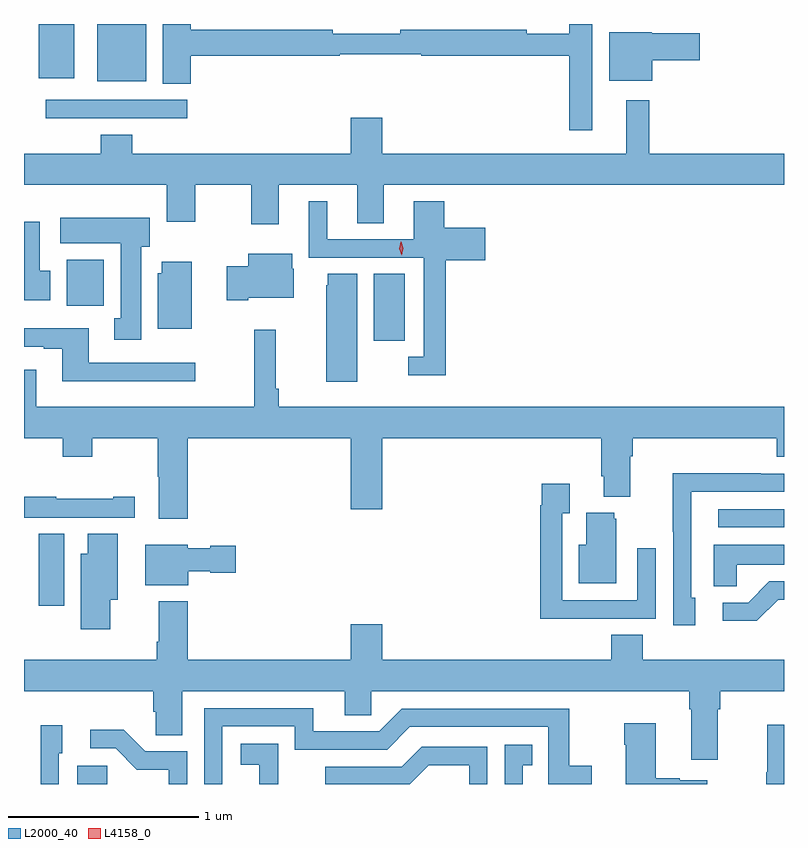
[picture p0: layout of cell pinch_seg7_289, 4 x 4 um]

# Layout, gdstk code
import gdstk
lib = gdstk.Library(unit=1e-6, precision=1e-09)
def R(c, l, rs):  # rectangles x0, y0, x1, y1
    for r in rs: c.add(gdstk.rectangle(r[:2], r[2:], *l))
def P(c, l, *ps):  # polygons
    for p in ps: c.add(gdstk.Polygon(p, *l))
L2000_40 = (2000, 40)
L4158_0 = (4158, 0)

pinch_seg7_289 = lib.new_cell('pinch_seg7_289')
R(pinch_seg7_289, L2000_40, [(511.22,1058.735,511.377,1058.83), (511.016,1059.672,511.15,1060.052), (514.593,1060.086,514.939,1060.182), (512.78,1061.067,512.944,1061.42), (511.163,1061.252,511.36,1061.494), (511.053,1062.24,511.798,1062.336), (511.325,1062.434,511.582,1062.735), (511.016,1062.449,511.204,1062.735)])
P(pinch_seg7_289, L2000_40, [(513.931,1062.735),(513.81,1062.735),(513.81,1062.685),(513.584,1062.685),(513.584,1062.704),(512.92,1062.704),(512.92,1062.685),(512.564,1062.685),(512.564,1062.704),(511.817,1062.704),(511.817,1062.735),(511.67,1062.735),(511.67,1062.421),(511.817,1062.421),(511.817,1062.568),(512.6,1062.568),(512.6,1062.576),(513.031,1062.576),(513.031,1062.568),(513.81,1062.568),(513.81,1062.177),(513.931,1062.177)],
  [(514.246,1062.544),(514.495,1062.544),(514.495,1062.686),(514.242,1062.686),(514.242,1062.691),(514.019,1062.691),(514.019,1062.437),(514.246,1062.437)],
  [(512.281,1061.888),(512.693,1061.888),(512.693,1061.686),(512.833,1061.686),(512.833,1061.888),(514.939,1061.888),(514.939,1062.052),(514.231,1062.052),(514.231,1062.334),(514.109,1062.334),(514.109,1062.052),(512.824,1062.052),(512.824,1062.241),(512.66,1062.241),(512.66,1062.052),(511.508,1062.052),(511.508,1062.151),(511.343,1062.151),(511.343,1062.052),(510.939,1062.052),(510.939,1061.888),(511.691,1061.888),(511.691,1061.694),(511.839,1061.694),(511.839,1061.888),(512.134,1061.888),(512.134,1061.682),(512.281,1061.682)],
  [(513.158,1061.492),(513.367,1061.492),(513.367,1061.662),(513.152,1061.662),(513.152,1061.803),(512.99,1061.803),(512.99,1061.601),(512.536,1061.601),(512.536,1061.803),(512.438,1061.803),(512.438,1061.505),(513.042,1061.505),(513.042,1060.983),(512.961,1060.983),(512.961,1060.886),(513.158,1060.886)],
  [(511.555,1061.562),(511.6,1061.562),(511.6,1061.716),(511.131,1061.716),(511.131,1061.582),(511.448,1061.582),(511.448,1061.186),(511.415,1061.186),(511.415,1061.073),(511.555,1061.073)],
  [(511.078,1061.436),(511.021,1061.436),(511.021,1061.695),(510.939,1061.695),(510.939,1061.28),(511.078,1061.28)],
  [(512.119,1061.294),(512.359,1061.294),(512.359,1061.448),(512.35,1061.448),(512.35,1061.527),(512.12,1061.527),(512.12,1061.46),(512.007,1061.46),(512.007,1061.282),(512.119,1061.282)],
  [(511.822,1061.485),(511.664,1061.485),(511.664,1061.424),(511.643,1061.424),(511.643,1061.132),(511.822,1061.132)],
  [(512.692,1061.42),(512.537,1061.42),(512.537,1061.361),(512.531,1061.361),(512.531,1060.851),(512.692,1060.851)],
  [(511.84,1060.953),(511.279,1060.953),(511.279,1061.134),(510.939,1061.134),(510.939,1061.037),(511.043,1061.037),(511.043,1061.025),(511.139,1061.025),(511.139,1060.856),(511.84,1060.856)],
  [(511.802,1060.556),(512.66,1060.556),(512.66,1060.182),(512.824,1060.182),(512.824,1060.556),(513.977,1060.556),(513.977,1060.354),(513.989,1060.354),(513.989,1060.247),(514.129,1060.247),(514.129,1060.46),(514.142,1060.46),(514.142,1060.556),(514.901,1060.556),(514.901,1060.457),(514.939,1060.457),(514.939,1060.72),(512.279,1060.72),(512.279,1060.816),(512.264,1060.816),(512.264,1061.125),(512.151,1061.125),(512.151,1060.72),(511.003,1060.72),(511.003,1060.915),(510.939,1060.915),(510.939,1060.556),(511.144,1060.556),(511.144,1060.457),(511.299,1060.457),(511.299,1060.556),(511.642,1060.556),(511.642,1060.352),(511.649,1060.352),(511.649,1060.131),(511.802,1060.131)],
  [(514.471,1059.714),(514.452,1059.714),(514.452,1060.272),(514.939,1060.272),(514.939,1060.368),(514.817,1060.368),(514.817,1060.37),(514.354,1060.37),(514.354,1060.063),(514.356,1060.063),(514.356,1059.57),(514.471,1059.57)],
  [(513.947,1059.606),(514.263,1059.606),(514.263,1059.976),(514.167,1059.976),(514.167,1059.702),(513.771,1059.702),(513.771,1060.159),(513.811,1060.159),(513.811,1060.315),(513.663,1060.315),(513.663,1060.202),(513.655,1060.202),(513.655,1059.605),(513.947,1059.605)],
  [(511.522,1060.246),(511.409,1060.246),(511.409,1060.236),(511.109,1060.236),(511.109,1060.246),(510.939,1060.246),(510.939,1060.137),(511.522,1060.137)],
  [(514.057,1060.131),(514.046,1060.131),(514.046,1060.162),(513.899,1060.162),(513.899,1059.994),(513.86,1059.994),(513.86,1059.791),(514.057,1059.791)],
  [(511.393,1059.704),(511.432,1059.704),(511.432,1060.052),(511.274,1060.052),(511.274,1059.946),(511.238,1059.946),(511.238,1059.549),(511.393,1059.549)],
  [(514.689,1059.89),(514.939,1059.89),(514.939,1059.994),(514.568,1059.994),(514.568,1059.775),(514.689,1059.775)],
  [(511.804,1059.854),(511.92,1059.854),(511.92,1059.847),(512.053,1059.847),(512.053,1059.989),(511.92,1059.989),(511.92,1059.976),(511.8,1059.976),(511.8,1059.994),(511.577,1059.994),(511.577,1059.782),(511.804,1059.782)],
  [(514.908,1059.705),(514.939,1059.705),(514.939,1059.801),(514.862,1059.801),(514.751,1059.69),(514.617,1059.69),(514.617,1059.593),(514.795,1059.593)],
  [(514.591,1059.128),(514.604,1059.128),(514.604,1059.224),(514.939,1059.224),(514.939,1059.388),(514.196,1059.388),(514.196,1059.521),(514.031,1059.521),(514.031,1059.388),(512.824,1059.388),(512.824,1059.577),(512.66,1059.577),(512.66,1059.388),(511.802,1059.388),(511.802,1059.697),(511.649,1059.697),(511.649,1059.484),(511.637,1059.484),(511.637,1059.388),(510.939,1059.388),(510.939,1059.224),(511.619,1059.224),(511.619,1059.115),(511.632,1059.115),(511.632,1058.992),(511.771,1058.992),(511.771,1059.224),(512.627,1059.224),(512.627,1059.097),(512.766,1059.097),(512.766,1059.224),(514.439,1059.224),(514.439,1059.128),(514.451,1059.128),(514.451,1058.862),(514.591,1058.862)],
  [(511.983,1059.039),(512.364,1059.039),(512.364,1058.916),(512.85,1058.916),(512.97,1059.036),(513.699,1059.036),(513.699,1058.735),(513.926,1058.735),(513.926,1058.83),(513.808,1058.83),(513.808,1059.132),(512.928,1059.132),(512.808,1059.012),(512.461,1059.012),(512.461,1059.135),(511.887,1059.135),(511.887,1058.735),(511.983,1058.735)],
  [(514.534,1058.755),(514.391,1058.755),(514.391,1058.765),(514.264,1058.765),(514.264,1059.055),(514.099,1059.055),(514.099,1058.942),(514.106,1058.942),(514.106,1058.735),(514.534,1058.735)],
  [(514.939,1059.046),(514.852,1059.046),(514.852,1058.796),(514.845,1058.796),(514.845,1058.735),(514.939,1058.735)],
  [(511.122,1058.898),(511.141,1058.898),(511.141,1059.043),(511.026,1059.043),(511.026,1058.735),(511.122,1058.735)],
  [(511.797,1058.907),(511.578,1058.907),(511.465,1059.02),(511.287,1059.02),(511.287,1058.922),(511.421,1058.922),(511.532,1058.811),(511.701,1058.811),(511.701,1058.735),(511.797,1058.735)],
  [(512.276,1058.741),(512.277,1058.741),(512.277,1058.947),(512.079,1058.947),(512.079,1058.837),(512.177,1058.837),(512.177,1058.735),(512.276,1058.735)],
  [(513.565,1058.835),(513.614,1058.835),(513.614,1058.941),(513.468,1058.941),(513.468,1058.735),(513.565,1058.735)],
  [(513.068,1058.834),(513.282,1058.834),(513.282,1058.735),(513.378,1058.735),(513.378,1058.931),(513.032,1058.931),(512.927,1058.826),(512.524,1058.826),(512.524,1058.735),(512.969,1058.735)])
P(pinch_seg7_289, L4158_0, [(512.927,1061.518),(512.927,1061.518),(512.915,1061.553),(512.923,1061.589),(512.924,1061.589),(512.924,1061.589),(512.935,1061.554),(512.927,1061.518)])

lib.write_gds('pinch_seg7_289.gds')
